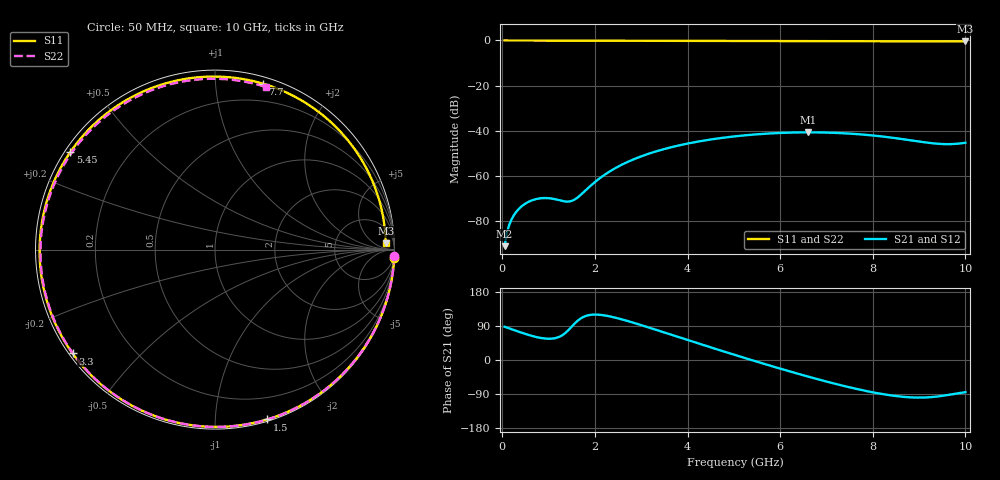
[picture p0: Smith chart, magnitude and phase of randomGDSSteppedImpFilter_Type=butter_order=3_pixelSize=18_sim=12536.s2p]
! freq	dB(S11)	phase(S11)	dB(S12)	phase(S12)
!  dB(S21)	phase(S21)	dB(S22)	phase(S22)
!S-par simulation data
#  GHz  S  DB  R 50
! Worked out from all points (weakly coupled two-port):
!   200 points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, 50 MHz to 10 GHz, reference 50 ohm
!   highest |S21| = -40.80 dB at 6.6 GHz (marker M1); lowest = -91.3 dB at 50 MHz (marker M2)
!   lowest |S11| = -0.4 dB at 10 GHz (marker M3), VSWR 40.38, Z = 1.3e+03 + j967 ohm
!   |S11| at or under -10 dB: nowhere
!   |S22| runs from -0.5 to 0.0 dB; largest |S21 - S12| = 0
!   S11 on the Smith chart (normalised r, x): 50 MHz: 0, -44; 1.5 GHz: 0.01, -1.35; 3.3 GHz: 0.01, -0.33; 5.45 GHz: 0.02, +0.31; 7.7 GHz: 0.05, +1.33; 10 GHz: 26, +19
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0.05  -0.00 -2.6  -91.33 87.7  -91.33 87.7  -0.00 -2.0
0.2  -0.01 -10.2  -79.44 81.2  -79.44 81.2  -0.01 -7.9
0.4  -0.03 -20.3  -73.95 72.7  -73.95 72.7  -0.02 -15.8
0.7  -0.05 -35.3  -70.59 61.6  -70.59 61.6  -0.04 -27.4
1.1  -0.07 -54.6  -70.32 56.8  -70.32 56.8  -0.05 -42.6
1.5  -0.09 -73.0  -71.23 88.1  -71.23 88.1  -0.07 -57.2
1.75  -0.10 -84.0  -67.48 113.5  -67.48 113.5  -0.08 -66.1
2.1  -0.11 -98.7  -61.25 119.3  -61.25 119.3  -0.09 -78.0
2.4  -0.12 -110.7  -57.17 112.9  -57.17 112.9  -0.10 -87.9
3.3  -0.16 -143.9  -49.38 80.4  -49.38 80.4  -0.13 -115.3
3.4  -0.16 -147.4  -48.77 76.5  -48.77 76.5  -0.14 -118.1
4.2  -0.19 -174.2  -44.99 45.0  -44.99 45.0  -0.17 -140.1
5.05  -0.23 158.6  -42.51 12.3  -42.51 12.3  -0.20 -161.8
5.45  -0.25 146.0  -41.74 -2.7  -41.74 -2.7  -0.22 -171.7
6.05  -0.27 127.0  -41.03 -24.5  -41.03 -24.5  -0.26 173.7
6.6  -0.30 109.4  -40.80 -43.7  -40.80 -43.7  -0.29 160.3
6.7  -0.30 106.2  -40.81 -47.0  -40.81 -47.0  -0.29 157.9
7.2  -0.32 90.1  -41.04 -63.2  -41.04 -63.2  -0.32 145.7
7.7  -0.33 73.9  -41.64 -77.7  -41.64 -77.7  -0.35 133.3
8.35  -0.35 53.0  -43.00 -92.6  -43.00 -92.6  -0.38 116.7
9.2  -0.38 26.1  -45.43 -98.5  -45.43 -98.5  -0.42 94.4
10  -0.43 2.1  -45.41 -84.9  -45.41 -84.9  -0.45 72.5
